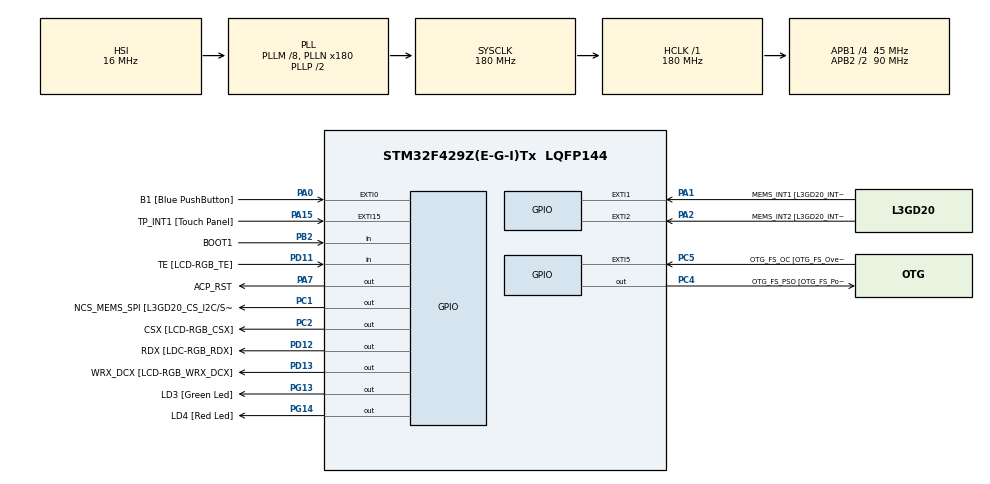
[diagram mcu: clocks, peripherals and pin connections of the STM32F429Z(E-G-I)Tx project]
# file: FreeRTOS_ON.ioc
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FREERTOS.Tasks01=defaultTask,0,128,StartDefaultTask,Default;LED_1,0,128,LED_Toggle,Default;SCREEN,0,128,SCREEN_Toggle,Default;TOUCH,2,128,TOUCH_Detect,Default;LED_2,-1,128,LED_Blink,Default
FREERTOS.configTOTAL_HEAP_SIZE=128000
Mcu.Family=STM32F4
Mcu.Name=STM32F429Z(E-G-I)Tx
Mcu.Package=LQFP144
NVIC.PriorityGroup=NVIC_PRIORITYGROUP_4
NVIC.TIM1_UP_TIM10_IRQn=true\:0\:0\:false\:false\:true\:false
NVIC.TimeBase=TIM1_UP_TIM10_IRQn
NVIC.TimeBaseIP=TIM1
PA0/WKUP.GPIO_Label=B1 [Blue PushButton]
PA0/WKUP.GPIO_ModeDefaultEXTI=GPIO_MODE_EVT_RISING
PA0/WKUP.GPIO_PuPd=GPIO_NOPULL
PA0/WKUP.Signal=GPXTI0
PA1.GPIO_Label=MEMS_INT1 [L3GD20_INT1]
PA1.GPIO_ModeDefaultEXTI=GPIO_MODE_EVT_RISING
PA1.GPIO_PuPd=GPIO_NOPULL
PA1.Signal=GPXTI1
PA11.GPIO_Label=R4
PA11.GPIO_Mode=GPIO_MODE_AF_PP
PA11.GPIO_PuPd=GPIO_NOPULL
PA11.GPIO_Speed=GPIO_SPEED_FREQ_LOW
PA11.Signal=LTDC_R4
PA12.GPIO_Label=R5
PA12.GPIO_Mode=GPIO_MODE_AF_PP
PA12.GPIO_PuPd=GPIO_NOPULL
PA12.GPIO_Speed=GPIO_SPEED_FREQ_LOW
PA12.Signal=LTDC_R5
PA13.GPIO_Label=SWDIO
PA13.Mode=Serial_Wire
PA13.Signal=SYS_JTMS-SWDIO
PA14.GPIO_Label=SWCLK
PA14.Mode=Serial_Wire
PA14.Signal=SYS_JTCK-SWCLK
PA15.GPIO_Label=TP_INT1 [Touch Panel]
PA15.GPIO_ModeDefaultEXTI=GPIO_MODE_EVT_RISING
PA15.GPIO_PuPd=GPIO_NOPULL
PA15.Signal=GPXTI15
PA2.GPIO_Label=MEMS_INT2 [L3GD20_INT2]
PA2.GPIO_ModeDefaultEXTI=GPIO_MODE_EVT_RISING
PA2.GPIO_PuPd=GPIO_NOPULL
PA2.Signal=GPXTI2
PA3.GPIO_Label=B5
PA3.GPIO_Mode=GPIO_MODE_AF_PP
PA3.GPIO_PuPd=GPIO_NOPULL
PA3.GPIO_Speed=GPIO_SPEED_FREQ_LOW
PA3.Signal=LTDC_B5
PA4.GPIO_Label=VSYNC
PA4.GPIO_Mode=GPIO_MODE_AF_PP
PA4.GPIO_PuPd=GPIO_NOPULL
PA4.GPIO_Speed=GPIO_SPEED_FREQ_LOW
PA4.Signal=LTDC_VSYNC
PA6.GPIO_Label=G2
PA6.GPIO_Mode=GPIO_MODE_AF_PP
PA6.GPIO_PuPd=GPIO_NOPULL
PA6.GPIO_Speed=GPIO_SPEED_FREQ_LOW
PA6.Signal=LTDC_G2
PA7.GPIO_Label=ACP_RST
PA7.GPIO_Mode=GPIO_MODE_OUTPUT_PP
PA7.GPIO_PuPd=GPIO_NOPULL
PA7.GPIO_Speed=GPIO_SPEED_FREQ_LOW
PA7.Signal=GPIO_Output
PA8.GPIO_Label=I2C3_SCL [ACP/RF_SCL]
PA8.GPIO_Mode=GPIO_MODE_AF_OD
PA8.GPIO_PuPd=GPIO_NOPULL
PA8.GPIO_Speed=GPIO_SPEED_FREQ_LOW
PA8.Signal=I2C3_SCL
PB0.GPIO_Label=R3
PB0.GPIO_Mode=GPIO_MODE_AF_PP
PB0.GPIO_PuPd=GPIO_NOPULL
PB0.GPIO_Speed=GPIO_SPEED_FREQ_LOW
PB0.Signal=LTDC_R3
PB1.GPIO_Label=R6
PB1.GPIO_Mode=GPIO_MODE_AF_PP
PB1.GPIO_PuPd=GPIO_NOPULL
PB1.GPIO_Speed=GPIO_SPEED_FREQ_LOW
PB1.Signal=LTDC_R6
PB10.GPIO_Label=G4
PB10.GPIO_Mode=GPIO_MODE_AF_PP
PB10.GPIO_PuPd=GPIO_NOPULL
PB10.GPIO_Speed=GPIO_SPEED_FREQ_LOW
PB10.Signal=LTDC_G4
PB11.GPIO_Label=G5
PB11.GPIO_Mode=GPIO_MODE_AF_PP
PB11.GPIO_PuPd=GPIO_NOPULL
PB11.GPIO_Speed=GPIO_SPEED_FREQ_LOW
PB11.Signal=LTDC_G5
PB12.GPIO_Label=OTG_FS_ID
PB12.GPIO_Mode=GPIO_MODE_AF_PP
PB12.GPIO_PuPd=GPIO_NOPULL
PB12.GPIO_Speed=GPIO_SPEED_FREQ_LOW
PB12.Signal=USB_OTG_HS_ID
PB13.GPIO_Label=VBUS_FS
PB13.GPIO_Mode=GPIO_MODE_INPUT
PB13.GPIO_PuPd=GPIO_NOPULL
PB13.Signal=USB_OTG_HS_VBUS
PB14.GPIO_Label=OTG_FS_DM
PB14.GPIO_Mode=GPIO_MODE_AF_PP
PB14.GPIO_PuPd=GPIO_NOPULL
PB14.GPIO_Speed=GPIO_SPEED_FREQ_LOW
PB14.Signal=USB_OTG_HS_DM
PB15.GPIO_Label=OTG_FS_DP
PB15.GPIO_Mode=GPIO_MODE_AF_PP
PB15.GPIO_PuPd=GPIO_NOPULL
PB15.GPIO_Speed=GPIO_SPEED_FREQ_LOW
PB15.Signal=USB_OTG_HS_DP
PB2/BOOT1.GPIO_Label=BOOT1
PB2/BOOT1.GPIO_Mode=GPIO_MODE_INPUT
PB2/BOOT1.GPIO_PuPd=GPIO_NOPULL
PB2/BOOT1.Signal=GPIO_Input
PB5.GPIO_Label=SDCKE1
PB5.GPIO_Mode=GPIO_MODE_AF_PP
PB5.GPIO_PuPd=GPIO_NOPULL
PB5.GPIO_Speed=GPIO_SPEED_FREQ_VERY_HIGH
PB5.Signal=FMC_SDCKE1
PB6.GPIO_Label=SDNE1 [SDRAM_CS]
PB6.GPIO_Mode=GPIO_MODE_AF_PP
PB6.GPIO_PuPd=GPIO_NOPULL
PB6.GPIO_Speed=GPIO_SPEED_FREQ_VERY_HIGH
PB6.Signal=FMC_SDNE1
PB8.GPIO_Label=B6
PB8.GPIO_Mode=GPIO_MODE_AF_PP
PB8.GPIO_PuPd=GPIO_NOPULL
PB8.GPIO_Speed=GPIO_SPEED_FREQ_LOW
PB8.Signal=LTDC_B6
PB9.GPIO_Label=B7
PB9.GPIO_Mode=GPIO_MODE_AF_PP
PB9.GPIO_PuPd=GPIO_NOPULL
PB9.GPIO_Speed=GPIO_SPEED_FREQ_LOW
PB9.Signal=LTDC_B7
PC0.GPIO_Label=SDNWE
PC0.GPIO_Mode=GPIO_MODE_AF_PP
PC0.GPIO_PuPd=GPIO_NOPULL
PC0.GPIO_Speed=GPIO_SPEED_FREQ_VERY_HIGH
PC0.Signal=FMC_SDNWE
PC1.GPIO_Label=NCS_MEMS_SPI [L3GD20_CS_I2C/SPI]
PC1.GPIO_Mode=GPIO_MODE_OUTPUT_PP
PC1.GPIO_PuPd=GPIO_NOPULL
PC1.GPIO_Speed=GPIO_SPEED_FREQ_LOW
PC1.Signal=GPIO_Output
PC10.GPIO_Label=R2
PC10.GPIO_Mode=GPIO_MODE_AF_PP
PC10.GPIO_PuPd=GPIO_NOPULL
PC10.GPIO_Speed=GPIO_SPEED_FREQ_LOW
PC10.Signal=LTDC_R2
PC14/OSC32_IN.GPIO_Label=PC14-OSC32_IN
PC14/OSC32_IN.Signal=RCC_OSC32_IN
PC15/OSC32_OUT.GPIO_Label=PC15-OSC32_OUT
PC15/OSC32_OUT.Signal=RCC_OSC32_OUT
PC2.GPIO_Label=CSX [LCD-RGB_CSX]
PC2.GPIO_Mode=GPIO_MODE_OUTPUT_PP
PC2.GPIO_PuPd=GPIO_NOPULL
PC2.GPIO_Speed=GPIO_SPEED_FREQ_LOW
PC2.Signal=GPIO_Output
PC4.GPIO_Label=OTG_FS_PSO [OTG_FS_PowerSwitchOn]
PC4.GPIO_Mode=GPIO_MODE_OUTPUT_PP
PC4.GPIO_PuPd=GPIO_NOPULL
PC4.GPIO_Speed=GPIO_SPEED_FREQ_LOW
PC4.Signal=GPIO_Output
PC5.GPIO_Label=OTG_FS_OC [OTG_FS_OverCurrent]
PC5.GPIO_ModeDefaultEXTI=GPIO_MODE_EVT_RISING
PC5.Signal=GPXTI5
PC6.GPIO_Label=HSYNC
PC6.GPIO_Mode=GPIO_MODE_AF_PP
PC6.GPIO_PuPd=GPIO_NOPULL
PC6.GPIO_Speed=GPIO_SPEED_FREQ_LOW
PC6.Signal=LTDC_HSYNC
PC7.GPIO_Label=G6
PC7.GPIO_Mode=GPIO_MODE_AF_PP
PC7.GPIO_PuPd=GPIO_NOPULL
PC7.GPIO_Speed=GPIO_SPEED_FREQ_LOW
PC7.Signal=LTDC_G6
PC9.GPIO_Label=I2C3_SDA [ACP/RF_SDA]
PC9.GPIO_Mode=GPIO_MODE_AF_OD
PC9.GPIO_PuPd=GPIO_NOPULL
PC9.GPIO_Speed=GPIO_SPEED_FREQ_LOW
PC9.Signal=I2C3_SDA
PD0.GPIO_Label=D2
PD0.GPIO_Mode=GPIO_MODE_AF_PP
PD0.GPIO_PuPd=GPIO_NOPULL
PD0.GPIO_Speed=GPIO_SPEED_FREQ_VERY_HIGH
PD0.Signal=FMC_D2_DA2
PD1.GPIO_Label=D3
PD1.GPIO_Mode=GPIO_MODE_AF_PP
PD1.GPIO_PuPd=GPIO_NOPULL
PD1.GPIO_Speed=GPIO_SPEED_FREQ_VERY_HIGH
PD1.Signal=FMC_D3_DA3
PD10.GPIO_Label=D15
PD10.GPIO_Mode=GPIO_MODE_AF_PP
PD10.GPIO_PuPd=GPIO_NOPULL
PD10.GPIO_Speed=GPIO_SPEED_FREQ_VERY_HIGH
PD10.Signal=FMC_D15_DA15
PD11.GPIO_Label=TE [LCD-RGB_TE]
PD11.GPIO_Mode=GPIO_MODE_INPUT
PD11.GPIO_PuPd=GPIO_NOPULL
PD11.Signal=GPIO_Input
PD12.GPIO_Label=RDX [LDC-RGB_RDX]
PD12.GPIO_Mode=GPIO_MODE_OUTPUT_PP
PD12.GPIO_PuPd=GPIO_NOPULL
PD12.GPIO_Speed=GPIO_SPEED_FREQ_LOW
PD12.Signal=GPIO_Output
PD13.GPIO_Label=WRX_DCX [LCD-RGB_WRX_DCX]
PD13.GPIO_Mode=GPIO_MODE_OUTPUT_PP
PD13.GPIO_PuPd=GPIO_NOPULL
PD13.GPIO_Speed=GPIO_SPEED_FREQ_LOW
PD13.Signal=GPIO_Output
PD14.GPIO_Label=D0
PD14.GPIO_Mode=GPIO_MODE_AF_PP
PD14.GPIO_PuPd=GPIO_NOPULL
PD14.GPIO_Speed=GPIO_SPEED_FREQ_VERY_HIGH
PD14.Signal=FMC_D0_DA0
PD15.GPIO_Label=D1
PD15.GPIO_Mode=GPIO_MODE_AF_PP
PD15.GPIO_PuPd=GPIO_NOPULL
PD15.GPIO_Speed=GPIO_SPEED_FREQ_VERY_HIGH
PD15.Signal=FMC_D1_DA1
PD3.GPIO_Label=G7
PD3.GPIO_Mode=GPIO_MODE_AF_PP
PD3.GPIO_PuPd=GPIO_NOPULL
PD3.GPIO_Speed=GPIO_SPEED_FREQ_LOW
PD3.Signal=LTDC_G7
PD6.GPIO_Label=B2
PD6.GPIO_Mode=GPIO_MODE_AF_PP
PD6.GPIO_PuPd=GPIO_NOPULL
PD6.GPIO_Speed=GPIO_SPEED_FREQ_LOW
PD6.Signal=LTDC_B2
PD8.GPIO_Label=D13
PD8.GPIO_Mode=GPIO_MODE_AF_PP
PD8.GPIO_PuPd=GPIO_NOPULL
PD8.GPIO_Speed=GPIO_SPEED_FREQ_VERY_HIGH
PD8.Signal=FMC_D13_DA13
PD9.GPIO_Label=D14
PD9.GPIO_Mode=GPIO_MODE_AF_PP
PD9.GPIO_PuPd=GPIO_NOPULL
PD9.GPIO_Speed=GPIO_SPEED_FREQ_VERY_HIGH
PD9.Signal=FMC_D14_DA14
PE0.GPIO_Label=NBL0 [SDRAM_LDQM]
PE0.GPIO_Mode=GPIO_MODE_AF_PP
PE0.GPIO_PuPd=GPIO_NOPULL
PE0.GPIO_Speed=GPIO_SPEED_FREQ_VERY_HIGH
PE0.Signal=FMC_NBL0
PE1.GPIO_Label=NBL1 [SDRAM_UDQM]
PE1.GPIO_Mode=GPIO_MODE_AF_PP
PE1.GPIO_PuPd=GPIO_NOPULL
PE1.GPIO_Speed=GPIO_SPEED_FREQ_VERY_HIGH
PE1.Signal=FMC_NBL1
PE10.GPIO_Label=D7
PE10.GPIO_Mode=GPIO_MODE_AF_PP
PE10.GPIO_PuPd=GPIO_NOPULL
PE10.GPIO_Speed=GPIO_SPEED_FREQ_VERY_HIGH
PE10.Signal=FMC_D7_DA7
PE11.GPIO_Label=D8
PE11.GPIO_Mode=GPIO_MODE_AF_PP
PE11.GPIO_PuPd=GPIO_NOPULL
PE11.GPIO_Speed=GPIO_SPEED_FREQ_VERY_HIGH
PE11.Signal=FMC_D8_DA8
PE12.GPIO_Label=D9
PE12.GPIO_Mode=GPIO_MODE_AF_PP
PE12.GPIO_PuPd=GPIO_NOPULL
PE12.GPIO_Speed=GPIO_SPEED_FREQ_VERY_HIGH
PE12.Signal=FMC_D9_DA9
PE13.GPIO_Label=D10
PE13.GPIO_Mode=GPIO_MODE_AF_PP
PE13.GPIO_PuPd=GPIO_NOPULL
PE13.GPIO_Speed=GPIO_SPEED_FREQ_VERY_HIGH
PE13.Signal=FMC_D10_DA10
PE14.GPIO_Label=D11
PE14.GPIO_Mode=GPIO_MODE_AF_PP
PE14.GPIO_PuPd=GPIO_NOPULL
PE14.GPIO_Speed=GPIO_SPEED_FREQ_VERY_HIGH
PE14.Signal=FMC_D11_DA11
PE15.GPIO_Label=D12
PE15.GPIO_Mode=GPIO_MODE_AF_PP
PE15.GPIO_PuPd=GPIO_NOPULL
PE15.GPIO_Speed=GPIO_SPEED_FREQ_VERY_HIGH
PE15.Signal=FMC_D12_DA12
PE7.GPIO_Label=D4
PE7.GPIO_Mode=GPIO_MODE_AF_PP
PE7.GPIO_PuPd=GPIO_NOPULL
PE7.GPIO_Speed=GPIO_SPEED_FREQ_VERY_HIGH
PE7.Signal=FMC_D4_DA4
PE8.GPIO_Label=D5
PE8.GPIO_Mode=GPIO_MODE_AF_PP
PE8.GPIO_PuPd=GPIO_NOPULL
PE8.GPIO_Speed=GPIO_SPEED_FREQ_VERY_HIGH
PE8.Signal=FMC_D5_DA5
PE9.GPIO_Label=D6
PE9.GPIO_Mode=GPIO_MODE_AF_PP
PE9.GPIO_PuPd=GPIO_NOPULL
PE9.GPIO_Speed=GPIO_SPEED_FREQ_VERY_HIGH
PE9.Signal=FMC_D6_DA6
PF0.GPIO_Label=A0
PF0.GPIO_Mode=GPIO_MODE_AF_PP
PF0.GPIO_PuPd=GPIO_NOPULL
PF0.GPIO_Speed=GPIO_SPEED_FREQ_VERY_HIGH
PF0.Signal=FMC_A0
PF1.GPIO_Label=A1
PF1.GPIO_Mode=GPIO_MODE_AF_PP
PF1.GPIO_PuPd=GPIO_NOPULL
PF1.GPIO_Speed=GPIO_SPEED_FREQ_VERY_HIGH
PF1.Signal=FMC_A1
PF10.GPIO_Label=ENABLE [LCD-RGB_ENABLE]
PF10.GPIO_Mode=GPIO_MODE_AF_PP
PF10.GPIO_PuPd=GPIO_NOPULL
PF10.GPIO_Speed=GPIO_SPEED_FREQ_LOW
PF10.Signal=LTDC_DE
PF11.GPIO_Label=SDNRAS
PF11.GPIO_Mode=GPIO_MODE_AF_PP
PF11.GPIO_PuPd=GPIO_NOPULL
PF11.GPIO_Speed=GPIO_SPEED_FREQ_VERY_HIGH
PF11.Signal=FMC_SDNRAS
PF12.GPIO_Label=A6
PF12.GPIO_Mode=GPIO_MODE_AF_PP
PF12.GPIO_PuPd=GPIO_NOPULL
PF12.GPIO_Speed=GPIO_SPEED_FREQ_VERY_HIGH
PF12.Signal=FMC_A6
PF13.GPIO_Label=A7
PF13.GPIO_Mode=GPIO_MODE_AF_PP
PF13.GPIO_PuPd=GPIO_NOPULL
PF13.GPIO_Speed=GPIO_SPEED_FREQ_VERY_HIGH
PF13.Signal=FMC_A7
PF14.GPIO_Label=A8
PF14.GPIO_Mode=GPIO_MODE_AF_PP
PF14.GPIO_PuPd=GPIO_NOPULL
PF14.GPIO_Speed=GPIO_SPEED_FREQ_VERY_HIGH
PF14.Signal=FMC_A8
PF15.GPIO_Label=A9
PF15.GPIO_Mode=GPIO_MODE_AF_PP
PF15.GPIO_PuPd=GPIO_NOPULL
PF15.GPIO_Speed=GPIO_SPEED_FREQ_VERY_HIGH
PF15.Signal=FMC_A9
PF2.GPIO_Label=A2
PF2.GPIO_Mode=GPIO_MODE_AF_PP
PF2.GPIO_PuPd=GPIO_NOPULL
PF2.GPIO_Speed=GPIO_SPEED_FREQ_VERY_HIGH
PF2.Signal=FMC_A2
PF3.GPIO_Label=A3
PF3.GPIO_Mode=GPIO_MODE_AF_PP
PF3.GPIO_PuPd=GPIO_NOPULL
PF3.GPIO_Speed=GPIO_SPEED_FREQ_VERY_HIGH
PF3.Signal=FMC_A3
PF4.GPIO_Label=A4
PF4.GPIO_Mode=GPIO_MODE_AF_PP
PF4.GPIO_PuPd=GPIO_NOPULL
PF4.GPIO_Speed=GPIO_SPEED_FREQ_VERY_HIGH
PF4.Signal=FMC_A4
PF5.GPIO_Label=A5
PF5.GPIO_Mode=GPIO_MODE_AF_PP
PF5.GPIO_PuPd=GPIO_NOPULL
PF5.GPIO_Speed=GPIO_SPEED_FREQ_VERY_HIGH
PF5.Signal=FMC_A5
PF7.GPIO_Label=SPI5_SCK [L3GD20_SCL/SPC]
PF7.GPIO_Mode=GPIO_MODE_AF_PP
PF7.GPIO_PuPd=GPIO_NOPULL
PF7.GPIO_Speed=GPIO_SPEED_FREQ_LOW
PF7.Signal=SPI5_SCK
PF8.GPIO_Label=SPI5_MISO [L3GD20_SDO]
PF8.GPIO_Mode=GPIO_MODE_AF_PP
PF8.GPIO_PuPd=GPIO_NOPULL
PF8.GPIO_Speed=GPIO_SPEED_FREQ_LOW
PF8.Signal=SPI5_MISO
PF9.GPIO_Label=SPI5_MOSI [L3GD20_SDA/SDI/SDO]
PF9.GPIO_Mode=GPIO_MODE_AF_PP
PF9.GPIO_PuPd=GPIO_NOPULL
PF9.GPIO_Speed=GPIO_SPEED_FREQ_LOW
PF9.Signal=SPI5_MOSI
PG0.GPIO_Label=A10
PG0.GPIO_Mode=GPIO_MODE_AF_PP
PG0.GPIO_PuPd=GPIO_NOPULL
PG0.GPIO_Speed=GPIO_SPEED_FREQ_VERY_HIGH
PG0.Signal=FMC_A10
PG1.GPIO_Label=A11
PG1.GPIO_Mode=GPIO_MODE_AF_PP
PG1.GPIO_PuPd=GPIO_NOPULL
PG1.GPIO_Speed=GPIO_SPEED_FREQ_VERY_HIGH
PG1.Signal=FMC_A11
PG10.GPIO_Label=G3
PG10.GPIO_Mode=GPIO_MODE_AF_PP
PG10.GPIO_PuPd=GPIO_NOPULL
PG10.GPIO_Speed=GPIO_SPEED_FREQ_LOW
PG10.Signal=LTDC_G3
PG11.GPIO_Label=B3
PG11.GPIO_Mode=GPIO_MODE_AF_PP
PG11.GPIO_PuPd=GPIO_NOPULL
PG11.GPIO_Speed=GPIO_SPEED_FREQ_LOW
PG11.Signal=LTDC_B3
PG12.GPIO_Label=B4
PG12.GPIO_Mode=GPIO_MODE_AF_PP
PG12.GPIO_PuPd=GPIO_NOPULL
PG12.GPIO_Speed=GPIO_SPEED_FREQ_LOW
PG12.Signal=LTDC_B4
PG13.GPIO_Label=LD3 [Green Led]
PG13.GPIO_Mode=GPIO_MODE_OUTPUT_PP
PG13.GPIO_PuPd=GPIO_NOPULL
PG13.GPIO_Speed=GPIO_SPEED_FREQ_LOW
PG13.Signal=GPIO_Output
PG14.GPIO_Label=LD4 [Red Led]
PG14.GPIO_Mode=GPIO_MODE_OUTPUT_PP
PG14.GPIO_PuPd=GPIO_NOPULL
PG14.GPIO_Speed=GPIO_SPEED_FREQ_LOW
PG14.Signal=GPIO_Output
PG15.GPIO_Label=SDNCAS
PG15.GPIO_Mode=GPIO_MODE_AF_PP
PG15.GPIO_PuPd=GPIO_NOPULL
PG15.GPIO_Speed=GPIO_SPEED_FREQ_VERY_HIGH
PG15.Signal=FMC_SDNCAS
PG4.GPIO_Label=BA0
PG4.GPIO_Mode=GPIO_MODE_AF_PP
PG4.GPIO_PuPd=GPIO_NOPULL
PG4.GPIO_Speed=GPIO_SPEED_FREQ_VERY_HIGH
PG4.Signal=FMC_A14_BA0
PG5.GPIO_Label=BA1
PG5.GPIO_Mode=GPIO_MODE_AF_PP
PG5.GPIO_PuPd=GPIO_NOPULL
PG5.GPIO_Speed=GPIO_SPEED_FREQ_VERY_HIGH
PG5.Signal=FMC_A15_BA1
PG6.GPIO_Label=R7
PG6.GPIO_Mode=GPIO_MODE_AF_PP
PG6.GPIO_PuPd=GPIO_NOPULL
PG6.GPIO_Speed=GPIO_SPEED_FREQ_LOW
PG6.Signal=LTDC_R7
PG7.GPIO_Label=DOTCLK [LCT-RGB_DOTCLK]
PG7.GPIO_Mode=GPIO_MODE_AF_PP
PG7.GPIO_PuPd=GPIO_NOPULL
PG7.GPIO_Speed=GPIO_SPEED_FREQ_LOW
PG7.Signal=LTDC_CLK
PG8.GPIO_Label=SDCLK
PG8.GPIO_Mode=GPIO_MODE_AF_PP
PG8.GPIO_PuPd=GPIO_NOPULL
PG8.GPIO_Speed=GPIO_SPEED_FREQ_VERY_HIGH
PG8.Signal=FMC_SDCLK
PH0/OSC_IN.GPIO_Label=PH0-OSC_IN
PH0/OSC_IN.Mode=HSE-External-Oscillator
PH0/OSC_IN.Signal=RCC_OSC_IN
PH1/OSC_OUT.GPIO_Label=PH1-OSC_OUT
PH1/OSC_OUT.Mode=HSE-External-Oscillator
PH1/OSC_OUT.Signal=RCC_OSC_OUT
ProjectManager.HeapSize=0x200
ProjectManager.StackSize=0x400
ProjectManager.TargetToolchain=MDK-ARM V5
RCC.48MHZClocksFreq_Value=51428571.428571425
RCC.AHBFreq_Value=180000000
RCC.APB1CLKDivider=RCC_HCLK_DIV4
RCC.APB1Freq_Value=45000000
RCC.APB1TimFreq_Value=90000000
RCC.APB2CLKDivider=RCC_HCLK_DIV2
RCC.APB2Freq_Value=90000000
RCC.APB2TimFreq_Value=180000000
RCC.CortexFreq_Value=180000000
RCC.HCLKFreq_Value=180000000
RCC.HSE_VALUE=8000000
RCC.HSI_VALUE=16000000
RCC.LSE_VALUE=32768
RCC.PLLM=8
RCC.PLLN=180
RCC.PLLQ=7
RCC.SYSCLKFreq_VALUE=180000000
RCC.SYSCLKSource=RCC_SYSCLKSOURCE_PLLCLK
RCC.VCOOutputFreq_Value=360000000
SH.FMC_A0.0=FMC_A0
SH.FMC_A1.0=FMC_A1
SH.FMC_A10.0=FMC_A10
SH.FMC_A11.0=FMC_A11
SH.FMC_A14_BA0.0=FMC_BA0
SH.FMC_A15_BA1.0=FMC_BA1
SH.FMC_A2.0=FMC_A2
SH.FMC_A3.0=FMC_A3
SH.FMC_A4.0=FMC_A4
SH.FMC_A5.0=FMC_A5
SH.FMC_A6.0=FMC_A6
SH.FMC_A7.0=FMC_A7
SH.FMC_A8.0=FMC_A8
SH.FMC_A9.0=FMC_A9
SH.FMC_D0_DA0.0=FMC_D0
SH.FMC_D10_DA10.0=FMC_D10
SH.FMC_D11_DA11.0=FMC_D11
SH.FMC_D12_DA12.0=FMC_D12
SH.FMC_D13_DA13.0=FMC_D13
SH.FMC_D14_DA14.0=FMC_D14
SH.FMC_D15_DA15.0=FMC_D15
SH.FMC_D1_DA1.0=FMC_D1
SH.FMC_D2_DA2.0=FMC_D2
SH.FMC_D3_DA3.0=FMC_D3
SH.FMC_D4_DA4.0=FMC_D4
SH.FMC_D5_DA5.0=FMC_D5
SH.FMC_D6_DA6.0=FMC_D6
SH.FMC_D7_DA7.0=FMC_D7
SH.FMC_D8_DA8.0=FMC_D8
SH.FMC_D9_DA9.0=FMC_D9
SH.FMC_NBL0.0=FMC_NBL0
SH.FMC_NBL1.0=FMC_NBL1
SH.FMC_SDCLK.0=FMC_SDCLK
SH.FMC_SDNCAS.0=FMC_SDNCAS
SH.FMC_SDNRAS.0=FMC_SDNRAS
SH.FMC_SDNWE.0=FMC_SDNWE
VP_FREERTOS_VS_ENABLE.Mode=Enabled
VP_SYS_VS_tim1.Mode=TIM1
board=STM32F429I-DISCO

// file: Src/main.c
/**
  ******************************************************************************
  * File Name          : main.c
  * Description        : Main program body
  ******************************************************************************
  *
  * Copyright (c) 2017 STMicroelectronics International N.V.
  * All rights reserved.
  *
  * Redistribution and use in source and binary forms, with or without
  * modification, are permitted, provided that the following conditions are met:
  *
  * 1. Redistribution of source code must retain the above copyright notice,
  *    this list of conditions and the following disclaimer.
  * 2. Redistributions in binary form must reproduce the above copyright notice,
  *    this list of conditions and the following disclaimer in the documentation
  *    and/or other materials provided with the distribution.
  * 3. Neither the name of STMicroelectronics nor the names of other
  *    contributors to this software may be used to endorse or promote products
  *    derived from this software without specific written permission.
  * 4. This software, including modifications and/or derivative works of this
  *    software, must execute solely and exclusively on microcontroller or
  *    microprocessor devices manufactured by or for STMicroelectronics.
  * 5. Redistribution and use of this software other than as permitted under
  *    this license is void and will automatically terminate your rights under
  *    this license.
  *
  * THIS SOFTWARE IS PROVIDED BY STMICROELECTRONICS AND CONTRIBUTORS "AS IS"
  * AND ANY EXPRESS, IMPLIED OR STATUTORY WARRANTIES, INCLUDING, BUT NOT
  * LIMITED TO, THE IMPLIED WARRANTIES OF MERCHANTABILITY, FITNESS FOR A
  * PARTICULAR PURPOSE AND NON-INFRINGEMENT OF THIRD PARTY INTELLECTUAL PROPERTY
  * RIGHTS ARE DISCLAIMED TO THE FULLEST EXTENT PERMITTED BY LAW. IN NO EVENT
  * SHALL STMICROELECTRONICS OR CONTRIBUTORS BE LIABLE FOR ANY DIRECT, INDIRECT,
  * INCIDENTAL, SPECIAL, EXEMPLARY, OR CONSEQUENTIAL DAMAGES (INCLUDING, BUT NOT
  * LIMITED TO, PROCUREMENT OF SUBSTITUTE GOODS OR SERVICES; LOSS OF USE, DATA,
  * OR PROFITS; OR BUSINESS INTERRUPTION) HOWEVER CAUSED AND ON ANY THEORY OF
  * LIABILITY, WHETHER IN CONTRACT, STRICT LIABILITY, OR TORT (INCLUDING
  * NEGLIGENCE OR OTHERWISE) ARISING IN ANY WAY OUT OF THE USE OF THIS SOFTWARE,
  * EVEN IF ADVISED OF THE POSSIBILITY OF SUCH DAMAGE.
  *
  ******************************************************************************
  */
#include "main.h"
#include "stm32f4xx_hal.h"
#include "cmsis_os.h"

/* USER CODE BEGIN Includes */
#include "stm32f429i_discovery.h"
#include "stm32f429i_discovery_lcd.h"
#include "stm32f429i_discovery_ts.h"
/* USER CODE END Includes */

osThreadId defaultTaskHandle;
osThreadId LED_1Handle;
osThreadId SCREENHandle;
osThreadId TOUCHHandle;
osThreadId LED_2Handle;

/* USER CODE BEGIN PV */
/* Private variables ---------------------------------------------------------*/

/* USER CODE END PV */

void SystemClock_Config(void);
void Error_Handler(void);
static void MX_GPIO_Init(void);
void StartDefaultTask(void const * argument);
void LED_Toggle(void const * argument);
void SCREEN_Toggle(void const * argument);
void TOUCH_Detect(void const * argument);
void LED_Blink(void const * argument);

/* USER CODE BEGIN PFP */
/* Private function prototypes -----------------------------------------------*/

/* USER CODE END PFP */

int main(void)
{

  /* MCU Configuration----------------------------------------------------------*/

  /* Reset of all peripherals, Initializes the Flash interface and the Systick. */
  HAL_Init();

  /* Configure the system clock */
  SystemClock_Config();

  /* Initialize all configured peripherals */
  MX_GPIO_Init();

  /* USER CODE BEGIN 2 */

	/* LED3 for LED_Toggle */
	BSP_LED_Init(LED3);
	/* LED4 for LED_Blink */
  BSP_LED_Init(LED4);
	/* Initialize the LCD */
  BSP_LCD_Init();
  /* Initialize TS on whole screen */
  BSP_TS_Init(240, 320);
	/* Select Layer */
  BSP_LCD_LayerDefaultInit(1, LCD_FRAME_BUFFER);
  BSP_LCD_SelectLayer(1);
	/* LCD Display On */
  BSP_LCD_DisplayOn();
  /* LCD background color */
  BSP_LCD_Clear(LCD_COLOR_WHITE);
  /* Text background color */
  BSP_LCD_SetBackColor(LCD_COLOR_RED);
  /* Text color */
  BSP_LCD_SetTextColor(LCD_COLOR_WHITE);
	/* LCD Title Show */
	BSP_LCD_DisplayStringAt(0, 40, "FreeRTOS", CENTER_MODE);
	/* Make the Botton to be Red */
	BSP_LCD_SetTextColor(LCD_COLOR_RED);
	BSP_LCD_DrawCircle(120, 180, 30);
	BSP_LCD_FillCircle(120, 180, 30);
  /* USER CODE END 2 */

  /* Create the thread(s) */
  /* definition and creation of defaultTask */
  osThreadDef(defaultTask, StartDefaultTask, osPriorityNormal, 0, 128);
  defaultTaskHandle = osThreadCreate(osThread(defaultTask), NULL);

  /* definition and creation of LED_1 */
  osThreadDef(LED_1, LED_Toggle, osPriorityNormal, 0, 128);
  LED_1Handle = osThreadCreate(osThread(LED_1), NULL);

  /* definition and creation of SCREEN */
  osThreadDef(SCREEN, SCREEN_Toggle, osPriorityNormal, 0, 128);
  SCREENHandle = osThreadCreate(osThread(SCREEN), NULL);

  /* definition and creation of TOUCH */
  osThreadDef(TOUCH, TOUCH_Detect, osPriorityHigh, 0, 128);
  TOUCHHandle = osThreadCreate(osThread(TOUCH), NULL);

  /* definition and creation of LED_2 */
  osThreadDef(LED_2, LED_Blink, osPriorityBelowNormal, 0, 128);
  LED_2Handle = osThreadCreate(osThread(LED_2), NULL);

  /* Start scheduler */
  osKernelStart();

  /* We should never get here as control is now taken by the scheduler */

  /* Infinite loop */
  while (1)
  {

  }

}

/** System Clock Configuration
*/
void SystemClock_Config(void)
{

  RCC_OscInitTypeDef RCC_OscInitStruct;
  RCC_ClkInitTypeDef RCC_ClkInitStruct;

    /**Configure the main internal regulator output voltage
    */
  __HAL_RCC_PWR_CLK_ENABLE();

  __HAL_PWR_VOLTAGESCALING_CONFIG(PWR_REGULATOR_VOLTAGE_SCALE1);

    /**Initializes the CPU, AHB and APB busses clocks
    */
  RCC_OscInitStruct.OscillatorType = RCC_OSCILLATORTYPE_HSI;
  RCC_OscInitStruct.HSIState = RCC_HSI_ON;
  RCC_OscInitStruct.HSICalibrationValue = 16;
  RCC_OscInitStruct.PLL.PLLState = RCC_PLL_ON;
  RCC_OscInitStruct.PLL.PLLSource = RCC_PLLSOURCE_HSI;
  RCC_OscInitStruct.PLL.PLLM = 8;
  RCC_OscInitStruct.PLL.PLLN = 180;
  RCC_OscInitStruct.PLL.PLLP = RCC_PLLP_DIV2;
  RCC_OscInitStruct.PLL.PLLQ = 7;
  if (HAL_RCC_OscConfig(&RCC_OscInitStruct) != HAL_OK)
  {
    Error_Handler();
  }

    /**Activate the Over-Drive mode
    */
  if (HAL_PWREx_EnableOverDrive() != HAL_OK)
  {
    Error_Handler();
  }

    /**Initializes the CPU, AHB and APB busses clocks
    */
  RCC_ClkInitStruct.ClockType = RCC_CLOCKTYPE_HCLK|RCC_CLOCKTYPE_SYSCLK
                              |RCC_CLOCKTYPE_PCLK1|RCC_CLOCKTYPE_PCLK2;
  RCC_ClkInitStruct.SYSCLKSource = RCC_SYSCLKSOURCE_PLLCLK;
  RCC_ClkInitStruct.AHBCLKDivider = RCC_SYSCLK_DIV1;
  RCC_ClkInitStruct.APB1CLKDivider = RCC_HCLK_DIV4;
  RCC_ClkInitStruct.APB2CLKDivider = RCC_HCLK_DIV2;

  if (HAL_RCC_ClockConfig(&RCC_ClkInitStruct, FLASH_LATENCY_5) != HAL_OK)
  {
    Error_Handler();
  }

    /**Configure the Systick interrupt time
    */
  HAL_SYSTICK_Config(HAL_RCC_GetHCLKFreq()/1000);

    /**Configure the Systick
    */
  HAL_SYSTICK_CLKSourceConfig(SYSTICK_CLKSOURCE_HCLK);

  /* SysTick_IRQn interrupt configuration */
  HAL_NVIC_SetPriority(SysTick_IRQn, 15, 0);
}

/** Configure pins as
        * Analog
        * Input
        * Output
        * EVENT_OUT
        * EXTI
     PF0   ------> FMC_A0
     PF1   ------> FMC_A1
     PF2   ------> FMC_A2
     PF3   ------> FMC_A3
     PF4   ------> FMC_A4
     PF5   ------> FMC_A5
     PF7   ------> SPI5_SCK
     PF8   ------> SPI5_MISO
     PF9   ------> SPI5_MOSI
     PF10   ------> LTDC_DE
     PC0   ------> FMC_SDNWE
     PA3   ------> LTDC_B5
     PA4   ------> LTDC_VSYNC
     PA6   ------> LTDC_G2
     PB0   ------> LTDC_R3
     PB1   ------> LTDC_R6
     PF11   ------> FMC_SDNRAS
     PF12   ------> FMC_A6
     PF13   ------> FMC_A7
     PF14   ------> FMC_A8
     PF15   ------> FMC_A9
     PG0   ------> FMC_A10
     PG1   ------> FMC_A11
     PE7   ------> FMC_D4_DA4
     PE8   ------> FMC_D5_DA5
     PE9   ------> FMC_D6_DA6
     PE10   ------> FMC_D7_DA7
     PE11   ------> FMC_D8_DA8
     PE12   ------> FMC_D9_DA9
     PE13   ------> FMC_D10_DA10
     PE14   ------> FMC_D11_DA11
     PE15   ------> FMC_D12_DA12
     PB10   ------> LTDC_G4
     PB11   ------> LTDC_G5
     PB12   ------> USB_OTG_HS_ID
     PB13   ------> USB_OTG_HS_VBUS
     PB14   ------> USB_OTG_HS_DM
     PB15   ------> USB_OTG_HS_DP
     PD8   ------> FMC_D13_DA13
     PD9   ------> FMC_D14_DA14
     PD10   ------> FMC_D15_DA15
     PD14   ------> FMC_D0_DA0
     PD15   ------> FMC_D1_DA1
     PG4   ------> FMC_A14_BA0
     PG5   ------> FMC_A15_BA1
     PG6   ------> LTDC_R7
     PG7   ------> LTDC_CLK
     PG8   ------> FMC_SDCLK
     PC6   ------> LTDC_HSYNC
     PC7   ------> LTDC_G6
     PC9   ------> I2C3_SDA
     PA8   ------> I2C3_SCL
     PA11   ------> LTDC_R4
     PA12   ------> LTDC_R5
     PC10   ------> LTDC_R2
     PD0   ------> FMC_D2_DA2
     PD1   ------> FMC_D3_DA3
     PD3   ------> LTDC_G7
     PD6   ------> LTDC_B2
     PG10   ------> LTDC_G3
     PG11   ------> LTDC_B3
     PG12   ------> LTDC_B4
     PG15   ------> FMC_SDNCAS
     PB5   ------> FMC_SDCKE1
     PB6   ------> FMC_SDNE1
     PB8   ------> LTDC_B6
     PB9   ------> LTDC_B7
     PE0   ------> FMC_NBL0
     PE1   ------> FMC_NBL1
*/
static void MX_GPIO_Init(void)
{

  GPIO_InitTypeDef GPIO_InitStruct;

  /* GPIO Ports Clock Enable */
  __HAL_RCC_GPIOC_CLK_ENABLE();
  __HAL_RCC_GPIOF_CLK_ENABLE();
  __HAL_RCC_GPIOH_CLK_ENABLE();
  __HAL_RCC_GPIOA_CLK_ENABLE();
  __HAL_RCC_GPIOB_CLK_ENABLE();
  __HAL_RCC_GPIOG_CLK_ENABLE();
  __HAL_RCC_GPIOE_CLK_ENABLE();
  __HAL_RCC_GPIOD_CLK_ENABLE();

  /*Configure GPIO pins : A0_Pin A1_Pin A2_Pin A3_Pin
                           A4_Pin A5_Pin SDNRAS_Pin A6_Pin
                           A7_Pin A8_Pin A9_Pin */
  GPIO_InitStruct.Pin = A0_Pin|A1_Pin|A2_Pin|A3_Pin
                          |A4_Pin|A5_Pin|SDNRAS_Pin|A6_Pin
                          |A7_Pin|A8_Pin|A9_Pin;
  GPIO_InitStruct.Mode = GPIO_MODE_AF_PP;
  GPIO_InitStruct.Pull = GPIO_NOPULL;
  GPIO_InitStruct.Speed = GPIO_SPEED_FREQ_VERY_HIGH;
  GPIO_InitStruct.Alternate = GPIO_AF12_FMC;
  HAL_GPIO_Init(GPIOF, &GPIO_InitStruct);

  /*Configure GPIO pins : SPI5_SCK_Pin SPI5_MISO_Pin SPI5_MOSI_Pin */
  GPIO_InitStruct.Pin = SPI5_SCK_Pin|SPI5_MISO_Pin|SPI5_MOSI_Pin;
  GPIO_InitStruct.Mode = GPIO_MODE_AF_PP;
  GPIO_InitStruct.Pull = GPIO_NOPULL;
  GPIO_InitStruct.Speed = GPIO_SPEED_FREQ_LOW;
  GPIO_InitStruct.Alternate = GPIO_AF5_SPI5;
  HAL_GPIO_Init(GPIOF, &GPIO_InitStruct);

  /*Configure GPIO pin : ENABLE_Pin */
  GPIO_InitStruct.Pin = ENABLE_Pin;
  GPIO_InitStruct.Mode = GPIO_MODE_AF_PP;
  GPIO_InitStruct.Pull = GPIO_NOPULL;
  GPIO_InitStruct.Speed = GPIO_SPEED_FREQ_LOW;
  GPIO_InitStruct.Alternate = GPIO_AF14_LTDC;
  HAL_GPIO_Init(ENABLE_GPIO_Port, &GPIO_InitStruct);

  /*Configure GPIO pin : SDNWE_Pin */
  GPIO_InitStruct.Pin = SDNWE_Pin;
  GPIO_InitStruct.Mode = GPIO_MODE_AF_PP;
  GPIO_InitStruct.Pull = GPIO_NOPULL;
  GPIO_InitStruct.Speed = GPIO_SPEED_FREQ_VERY_HIGH;
  GPIO_InitStruct.Alternate = GPIO_AF12_FMC;
  HAL_GPIO_Init(SDNWE_GPIO_Port, &GPIO_InitStruct);

  /*Configure GPIO pins : NCS_MEMS_SPI_Pin CSX_Pin OTG_FS_PSO_Pin */
  GPIO_InitStruct.Pin = NCS_MEMS_SPI_Pin|CSX_Pin|OTG_FS_PSO_Pin;
  GPIO_InitStruct.Mode = GPIO_MODE_OUTPUT_PP;
  GPIO_InitStruct.Pull = GPIO_NOPULL;
  GPIO_InitStruct.Speed = GPIO_SPEED_FREQ_LOW;
  HAL_GPIO_Init(GPIOC, &GPIO_InitStruct);

  /*Configure GPIO pins : B1_Pin MEMS_INT1_Pin MEMS_INT2_Pin TP_INT1_Pin */
  GPIO_InitStruct.Pin = B1_Pin|MEMS_INT1_Pin|MEMS_INT2_Pin|TP_INT1_Pin;
  GPIO_InitStruct.Mode = GPIO_MODE_EVT_RISING;
  GPIO_InitStruct.Pull = GPIO_NOPULL;
  HAL_GPIO_Init(GPIOA, &GPIO_InitStruct);

  /*Configure GPIO pins : B5_Pin VSYNC_Pin G2_Pin R4_Pin
                           R5_Pin */
  GPIO_InitStruct.Pin = B5_Pin|VSYNC_Pin|G2_Pin|R4_Pin
                          |R5_Pin;
  GPIO_InitStruct.Mode = GPIO_MODE_AF_PP;
  GPIO_InitStruct.Pull = GPIO_NOPULL;
  GPIO_InitStruct.Speed = GPIO_SPEED_FREQ_LOW;
  GPIO_InitStruct.Alternate = GPIO_AF14_LTDC;
  HAL_GPIO_Init(GPIOA, &GPIO_InitStruct);

  /*Configure GPIO pin : ACP_RST_Pin */
  GPIO_InitStruct.Pin = ACP_RST_Pin;
  GPIO_InitStruct.Mode = GPIO_MODE_OUTPUT_PP;
  GPIO_InitStruct.Pull = GPIO_NOPULL;
  GPIO_InitStruct.Speed = GPIO_SPEED_FREQ_LOW;
  HAL_GPIO_Init(ACP_RST_GPIO_Port, &GPIO_InitStruct);

  /*Configure GPIO pin : OTG_FS_OC_Pin */
  GPIO_InitStruct.Pin = OTG_FS_OC_Pin;
  GPIO_InitStruct.Mode = GPIO_MODE_EVT_RISING;
  GPIO_InitStruct.Pull = GPIO_NOPULL;
  HAL_GPIO_Init(OTG_FS_OC_GPIO_Port, &GPIO_InitStruct);

  /*Configure GPIO pins : R3_Pin R6_Pin */
  GPIO_InitStruct.Pin = R3_Pin|R6_Pin;
  GPIO_InitStruct.Mode = GPIO_MODE_AF_PP;
  GPIO_InitStruct.Pull = GPIO_NOPULL;
  GPIO_InitStruct.Speed = GPIO_SPEED_FREQ_LOW;
  GPIO_InitStruct.Alternate = GPIO_AF9_LTDC;
  HAL_GPIO_Init(GPIOB, &GPIO_InitStruct);

  /*Configure GPIO pin : BOOT1_Pin */
  GPIO_InitStruct.Pin = BOOT1_Pin;
  GPIO_InitStruct.Mode = GPIO_MODE_INPUT;
  GPIO_InitStruct.Pull = GPIO_NOPULL;
  HAL_GPIO_Init(BOOT1_GPIO_Port, &GPIO_InitStruct);

  /*Configure GPIO pins : A10_Pin A11_Pin BA0_Pin BA1_Pin
                           SDCLK_Pin SDNCAS_Pin */
  GPIO_InitStruct.Pin = A10_Pin|A11_Pin|BA0_Pin|BA1_Pin
                          |SDCLK_Pin|SDNCAS_Pin;
  GPIO_InitStruct.Mode = GPIO_MODE_AF_PP;
  GPIO_InitStruct.Pull = GPIO_NOPULL;
  GPIO_InitStruct.Speed = GPIO_SPEED_FREQ_VERY_HIGH;
  GPIO_InitStruct.Alternate = GPIO_AF12_FMC;
  HAL_GPIO_Init(GPIOG, &GPIO_InitStruct);

  /*Configure GPIO pins : D4_Pin D5_Pin D6_Pin D7_Pin
                           D8_Pin D9_Pin D10_Pin D11_Pin
                           D12_Pin NBL0_Pin NBL1_Pin */
  GPIO_InitStruct.Pin = D4_Pin|D5_Pin|D6_Pin|D7_Pin
                          |D8_Pin|D9_Pin|D10_Pin|D11_Pin
                          |D12_Pin|NBL0_Pin|NBL1_Pin;
  GPIO_InitStruct.Mode = GPIO_MODE_AF_PP;
  GPIO_InitStruct.Pull = GPIO_NOPULL;
  GPIO_InitStruct.Speed = GPIO_SPEED_FREQ_VERY_HIGH;
  GPIO_InitStruct.Alternate = GPIO_AF12_FMC;
  HAL_GPIO_Init(GPIOE, &GPIO_InitStruct);

  /*Configure GPIO pins : G4_Pin G5_Pin B6_Pin B7_Pin */
  GPIO_InitStruct.Pin = G4_Pin|G5_Pin|B6_Pin|B7_Pin;
  GPIO_InitStruct.Mode = GPIO_MODE_AF_PP;
  GPIO_InitStruct.Pull = GPIO_NOPULL;
  GPIO_InitStruct.Speed = GPIO_SPEED_FREQ_LOW;
  GPIO_InitStruct.Alternate = GPIO_AF14_LTDC;
  HAL_GPIO_Init(GPIOB, &GPIO_InitStruct);

  /*Configure GPIO pins : OTG_FS_ID_Pin OTG_FS_DM_Pin OTG_FS_DP_Pin */
  GPIO_InitStruct.Pin = OTG_FS_ID_Pin|OTG_FS_DM_Pin|OTG_FS_DP_Pin;
  GPIO_InitStruct.Mode = GPIO_MODE_AF_PP;
  GPIO_InitStruct.Pull = GPIO_NOPULL;
  GPIO_InitStruct.Speed = GPIO_SPEED_FREQ_LOW;
  GPIO_InitStruct.Alternate = GPIO_AF12_OTG_HS_FS;
  HAL_GPIO_Init(GPIOB, &GPIO_InitStruct);

  /*Configure GPIO pin : VBUS_FS_Pin */
  GPIO_InitStruct.Pin = VBUS_FS_Pin;
  GPIO_InitStruct.Mode = GPIO_MODE_INPUT;
  GPIO_InitStruct.Pull = GPIO_NOPULL;
  HAL_GPIO_Init(VBUS_FS_GPIO_Port, &GPIO_InitStruct);

  /*Configure GPIO pins : D13_Pin D14_Pin D15_Pin D0_Pin
                           D1_Pin D2_Pin D3_Pin */
  GPIO_InitStruct.Pin = D13_Pin|D14_Pin|D15_Pin|D0_Pin
                          |D1_Pin|D2_Pin|D3_Pin;
  GPIO_InitStruct.Mode = GPIO_MODE_AF_PP;
  GPIO_InitStruct.Pull = GPIO_NOPULL;
  GPIO_InitStruct.Speed = GPIO_SPEED_FREQ_VERY_HIGH;
  GPIO_InitStruct.Alternate = GPIO_AF12_FMC;
  HAL_GPIO_Init(GPIOD, &GPIO_InitStruct);

  /*Configure GPIO pin : TE_Pin */
  GPIO_InitStruct.Pin = TE_Pin;
  GPIO_InitStruct.Mode = GPIO_MODE_INPUT;
  GPIO_InitStruct.Pull = GPIO_NOPULL;
  HAL_GPIO_Init(TE_GPIO_Port, &GPIO_InitStruct);

  /*Configure GPIO pins : RDX_Pin WRX_DCX_Pin */
  GPIO_InitStruct.Pin = RDX_Pin|WRX_DCX_Pin;
  GPIO_InitStruct.Mode = GPIO_MODE_OUTPUT_PP;
  GPIO_InitStruct.Pull = GPIO_NOPULL;
  GPIO_InitStruct.Speed = GPIO_SPEED_FREQ_LOW;
  HAL_GPIO_Init(GPIOD, &GPIO_InitStruct);

  /*Configure GPIO pins : R7_Pin DOTCLK_Pin B3_Pin */
  GPIO_InitStruct.Pin = R7_Pin|DOTCLK_Pin|B3_Pin;
  GPIO_InitStruct.Mode = GPIO_MODE_AF_PP;
  GPIO_InitStruct.Pull = GPIO_NOPULL;
  GPIO_InitStruct.Speed = GPIO_SPEED_FREQ_LOW;
  GPIO_InitStruct.Alternate = GPIO_AF14_LTDC;
  HAL_GPIO_Init(GPIOG, &GPIO_InitStruct);

  /*Configure GPIO pins : HSYNC_Pin G6_Pin R2_Pin */
  GPIO_InitStruct.Pin = HSYNC_Pin|G6_Pin|R2_Pin;
  GPIO_InitStruct.Mode = GPIO_MODE_AF_PP;
  GPIO_InitStruct.Pull = GPIO_NOPULL;
  GPIO_InitStruct.Speed = GPIO_SPEED_FREQ_LOW;
  GPIO_InitStruct.Alternate = GPIO_AF14_LTDC;
  HAL_GPIO_Init(GPIOC, &GPIO_InitStruct);

  /*Configure GPIO pin : I2C3_SDA_Pin */
  GPIO_InitStruct.Pin = I2C3_SDA_Pin;
  GPIO_InitStruct.Mode = GPIO_MODE_AF_OD;
  GPIO_InitStruct.Pull = GPIO_PULLUP;
  GPIO_InitStruct.Speed = GPIO_SPEED_FREQ_LOW;
  GPIO_InitStruct.Alternate = GPIO_AF4_I2C3;
  HAL_GPIO_Init(I2C3_SDA_GPIO_Port, &GPIO_InitStruct);

  /*Configure GPIO pin : I2C3_SCL_Pin */
  GPIO_InitStruct.Pin = I2C3_SCL_Pin;
  GPIO_InitStruct.Mode = GPIO_MODE_AF_OD;
  GPIO_InitStruct.Pull = GPIO_PULLUP;
  GPIO_InitStruct.Speed = GPIO_SPEED_FREQ_LOW;
  GPIO_InitStruct.Alternate = GPIO_AF4_I2C3;
  HAL_GPIO_Init(I2C3_SCL_GPIO_Port, &GPIO_InitStruct);

  /*Configure GPIO pins : G7_Pin B2_Pin */
  GPIO_InitStruct.Pin = G7_Pin|B2_Pin;
  GPIO_InitStruct.Mode = GPIO_MODE_AF_PP;
  GPIO_InitStruct.Pull = GPIO_NOPULL;
  GPIO_InitStruct.Speed = GPIO_SPEED_FREQ_LOW;
  GPIO_InitStruct.Alternate = GPIO_AF14_LTDC;
  HAL_GPIO_Init(GPIOD, &GPIO_InitStruct);

  /*Configure GPIO pins : G3_Pin B4_Pin */
  GPIO_InitStruct.Pin = G3_Pin|B4_Pin;
  GPIO_InitStruct.Mode = GPIO_MODE_AF_PP;
  GPIO_InitStruct.Pull = GPIO_NOPULL;
  GPIO_InitStruct.Speed = GPIO_SPEED_FREQ_LOW;
  GPIO_InitStruct.Alternate = GPIO_AF9_LTDC;
  HAL_GPIO_Init(GPIOG, &GPIO_InitStruct);

  /*Configure GPIO pins : LD3_Pin LD4_Pin */
  GPIO_InitStruct.Pin = LD3_Pin|LD4_Pin;
  GPIO_InitStruct.Mode = GPIO_MODE_OUTPUT_PP;
  GPIO_InitStruct.Pull = GPIO_NOPULL;
  GPIO_InitStruct.Speed = GPIO_SPEED_FREQ_LOW;
  HAL_GPIO_Init(GPIOG, &GPIO_InitStruct);

  /*Configure GPIO pins : SDCKE1_Pin SDNE1_Pin */
  GPIO_InitStruct.Pin = SDCKE1_Pin|SDNE1_Pin;
  GPIO_InitStruct.Mode = GPIO_MODE_AF_PP;
  GPIO_InitStruct.Pull = GPIO_NOPULL;
  GPIO_InitStruct.Speed = GPIO_SPEED_FREQ_VERY_HIGH;
  GPIO_InitStruct.Alternate = GPIO_AF12_FMC;
  HAL_GPIO_Init(GPIOB, &GPIO_InitStruct);

  /*Configure GPIO pin Output Level */
  HAL_GPIO_WritePin(GPIOC, NCS_MEMS_SPI_Pin|CSX_Pin|OTG_FS_PSO_Pin, GPIO_PIN_RESET);

  /*Configure GPIO pin Output Level */
  HAL_GPIO_WritePin(ACP_RST_GPIO_Port, ACP_RST_Pin, GPIO_PIN_RESET);

  /*Configure GPIO pin Output Level */
  HAL_GPIO_WritePin(GPIOD, RDX_Pin|WRX_DCX_Pin, GPIO_PIN_RESET);

  /*Configure GPIO pin Output Level */
  HAL_GPIO_WritePin(GPIOG, LD3_Pin|LD4_Pin, GPIO_PIN_RESET);

}

/* StartDefaultTask function */
void StartDefaultTask(void const * argument)
{

  for(;;)
  {
    osDelay(1);
  }
}

/* LED_Toggle function */
void LED_Toggle(void const * argument)
{
  /* USER CODE BEGIN LED_Toggle */
  /* Infinite loop */
  for(;;)
  {
		/* Suspend LED_Toggle */
		osThreadSuspend(NULL);
		/* Toggle LED State */
		BSP_LED_Toggle(LED3);
  }
  /* USER CODE END LED_Toggle */
}

/* SCREEN_Toggle function */
void SCREEN_Toggle(void const * argument)
{
  /* USER CODE BEGIN SCREEN_Toggle */
	int count;
  /* Infinite loop */
  for(count = 0;; count = (count + 1) % 2)
  {
		/* Suspend SCREEN_Toggle */
		osThreadSuspend(NULL);
		/* Toggle the Scren */
		if(count == 0)
		{
			/* BGC Red to White */
			/* LCD background color */
			BSP_LCD_Clear(LCD_COLOR_RED);
			/* Text background color */
			BSP_LCD_SetBackColor(LCD_COLOR_WHITE);
			/* Text color */
			BSP_LCD_SetTextColor(LCD_COLOR_RED);
			/* LCD Title Show */
			BSP_LCD_DisplayStringAt(0, 40, "FreeRTOS", CENTER_MODE);
			/* Make the Botton to be Red */
			BSP_LCD_SetTextColor(LCD_COLOR_WHITE);
			BSP_LCD_DrawCircle(120, 180, 30);
			BSP_LCD_FillCircle(120, 180, 30);
		}
		else
		{
			/* BGC White to Red */
			/* LCD background color */
			BSP_LCD_Clear(LCD_COLOR_WHITE);
			/* Text background color */
			BSP_LCD_SetBackColor(LCD_COLOR_RED);
			/* Text color */
			BSP_LCD_SetTextColor(LCD_COLOR_WHITE);
			/* LCD Title Show */
			BSP_LCD_DisplayStringAt(0, 40, "FreeRTOS", CENTER_MODE);
			/* Make the Botton to be Red */
			BSP_LCD_SetTextColor(LCD_COLOR_RED);
			BSP_LCD_DrawCircle(120, 180, 30);
			BSP_LCD_FillCircle(120, 180, 30);
		}
		/* Resume TOUCH_Detect */
		osThreadResume(TOUCHHandle);
  }
  /* USER CODE END SCREEN_Toggle */
}

/* TOUCH_Detect function */
void TOUCH_Detect(void const * argument)
{
  /* USER CODE BEGIN TOUCH_Detect */
	static TS_StateTypeDef  TS_State;
	static uint32_t x = 0, y = 0;

  /* Infinite loop */
  for(;;)
  {
		/* Get touch screen position */
		BSP_TS_GetState(&TS_State);
		x = TS_State.X;
		y = TS_State.Y;
		/* Checks if touch is detected */
		if(TS_State.TouchDetected)
		{
			if(y >= 160 & y <= 200)
			{
				/* Checks if 1st button is pressed */
				if(x >= 100 & x <= 140)
				{
					//BSP_LCD_SetTextColor(LCD_COLOR_BLACK);
					//BSP_LCD_DisplayStringAt(0, 40, "FreeRTOS", CENTER_MODE);
					/* Resume LED_Toggle */
					osThreadResume(LED_1Handle);
					/* Resume SCREEN_Toggle */
					osThreadResume(SCREENHandle);
					/* Suspend TOUCH_Detect */
					osThreadSuspend(NULL);
					/* Prevent Multiple Touch */
					osDelay(100);
				}
			}
		}
    osDelay(10);
  }
  /* USER CODE END TOUCH_Detect */
}

/* LED_Blink function */
void LED_Blink(void const * argument)
{
  /* USER CODE BEGIN LED_Blink */
  /* Infinite loop */
  for(;;)
  {
		BSP_LED_Toggle(LED4);
    osDelay(1000);
  }
  /* USER CODE END LED_Blink */
}

void HAL_TIM_PeriodElapsedCallback(TIM_HandleTypeDef *htim)
{
  if (htim->Instance == TIM1) {
    HAL_IncTick();
  }
}

void Error_Handler(void)
{
  while(1)
  {
  }
}

/************************ (C) COPYRIGHT STMicroelectronics *****END OF FILE****/
